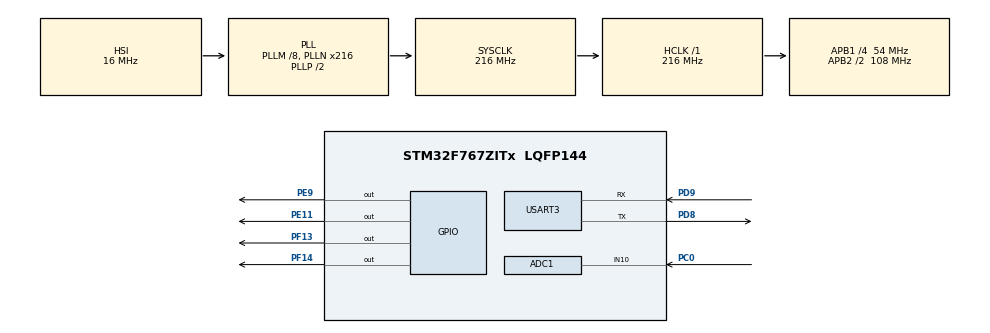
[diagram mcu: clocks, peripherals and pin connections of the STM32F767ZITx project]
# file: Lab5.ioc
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ADC1.Channel-0\#ChannelRegularConversion=ADC_CHANNEL_10
ADC1.ContinuousConvMode=ENABLE
ADC1.EOCSelection=ADC_EOC_SEQ_CONV
ADC1.NbrOfConversionFlag=1
ADC1.Rank-0\#ChannelRegularConversion=1
ADC1.SamplingTime-0\#ChannelRegularConversion=ADC_SAMPLETIME_3CYCLES
ADC1.master=1
Mcu.Family=STM32F7
Mcu.Name=STM32F767ZITx
Mcu.Package=LQFP144
NVIC.PriorityGroup=NVIC_PRIORITYGROUP_4
PC0.Signal=ADCx_IN10
PD8.Mode=Asynchronous
PD8.Signal=USART3_TX
PD9.Mode=Asynchronous
PD9.Signal=USART3_RX
PE11.Signal=GPIO_Output
PE9.Signal=GPIO_Output
PF13.Signal=GPIO_Output
PF14.Signal=GPIO_Output
ProjectManager.HeapSize=0x200
ProjectManager.StackSize=0x400
ProjectManager.TargetToolchain=STM32CubeIDE
RCC.AHBFreq_Value=216000000
RCC.APB1CLKDivider=RCC_HCLK_DIV4
RCC.APB1Freq_Value=54000000
RCC.APB1TimFreq_Value=108000000
RCC.APB2CLKDivider=RCC_HCLK_DIV2
RCC.APB2Freq_Value=108000000
RCC.APB2TimFreq_Value=216000000
RCC.CortexFreq_Value=216000000
RCC.HCLKFreq_Value=216000000
RCC.HSE_VALUE=25000000
RCC.HSI_VALUE=16000000
RCC.LSE_VALUE=32768
RCC.PLLM=8
RCC.PLLN=216
RCC.SYSCLKFreq_VALUE=216000000
RCC.SYSCLKSource=RCC_SYSCLKSOURCE_PLLCLK
RCC.USBFreq_Value=216000000
RCC.VCOOutputFreq_Value=432000000
SH.ADCx_IN10.0=ADC1_IN10,IN10
USART3.VirtualMode-Asynchronous=VM_ASYNC
board=custom

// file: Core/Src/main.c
/* USER CODE BEGIN Header */
/**
  ******************************************************************************
  * @file           : main.c
  * @brief          : Main program body
  ******************************************************************************
  * @attention
  *
  * <h2><center>&copy; Copyright (c) 2021 STMicroelectronics.
  * All rights reserved.</center></h2>
  *
  * This software component is licensed by ST under BSD 3-Clause license,
  * the "License"; You may not use this file except in compliance with the
  * License. You may obtain a copy of the License at:
  *                        opensource.org/licenses/BSD-3-Clause
  *
  ******************************************************************************
  */
/* USER CODE END Header */
#include "main.h"
#include "adc.h"
#include "usart.h"
#include "gpio.h"

/* USER CODE BEGIN Includes */
#include <string.h>
/* USER CODE END Includes */

/* USER CODE BEGIN PV */
//uint32_t hex1 = 501;

char ch[]="a";
volatile uint32_t adc_val = 0;
char vin1[]="a";
float vin;
volatile uint32_t adc_val8 = 0;
volatile uint32_t adc_val16 = 0;

/* USER CODE END PV */

void SystemClock_Config(void);
/* USER CODE BEGIN PFP */
void displayHEX(uint32_t);
int average_8(int x);
int average_16(int x);
/* USER CODE END PFP */

int main(void)
{

  /* MCU Configuration--------------------------------------------------------*/

  /* Reset of all peripherals, Initializes the Flash interface and the Systick. */
  HAL_Init();

  /* Configure the system clock */
  SystemClock_Config();

  /* Initialize all configured peripherals */
  MX_GPIO_Init();
  MX_ADC1_Init();
  MX_USART3_UART_Init();
  /* USER CODE BEGIN 2 */
  HAL_ADC_Start(&hadc1);
  /* USER CODE END 2 */

  /* Infinite loop */
  /* USER CODE BEGIN WHILE */
  while (1)
  {
	  //displayHEX(hex1);

	  while(HAL_ADC_PollForConversion(&hadc1,100)!= HAL_OK){}
	  adc_val = HAL_ADC_GetValue(&hadc1);
	  displayHEX(adc_val);
	  adc_val8 = average_8(adc_val);
	  adc_val16 = average_16(adc_val);
	  HAL_Delay(500);
    /* USER CODE END WHILE */

  }
}

void SystemClock_Config(void)
{
  RCC_OscInitTypeDef RCC_OscInitStruct = {0};
  RCC_ClkInitTypeDef RCC_ClkInitStruct = {0};
  RCC_PeriphCLKInitTypeDef PeriphClkInitStruct = {0};

  /** Configure the main internal regulator output voltage
  */
  __HAL_RCC_PWR_CLK_ENABLE();
  __HAL_PWR_VOLTAGESCALING_CONFIG(PWR_REGULATOR_VOLTAGE_SCALE1);
  /** Initializes the RCC Oscillators according to the specified parameters
  * in the RCC_OscInitTypeDef structure.
  */
  RCC_OscInitStruct.OscillatorType = RCC_OSCILLATORTYPE_HSI;
  RCC_OscInitStruct.HSIState = RCC_HSI_ON;
  RCC_OscInitStruct.HSICalibrationValue = RCC_HSICALIBRATION_DEFAULT;
  RCC_OscInitStruct.PLL.PLLState = RCC_PLL_ON;
  RCC_OscInitStruct.PLL.PLLSource = RCC_PLLSOURCE_HSI;
  RCC_OscInitStruct.PLL.PLLM = 8;
  RCC_OscInitStruct.PLL.PLLN = 216;
  RCC_OscInitStruct.PLL.PLLP = RCC_PLLP_DIV2;
  RCC_OscInitStruct.PLL.PLLQ = 2;
  RCC_OscInitStruct.PLL.PLLR = 2;
  if (HAL_RCC_OscConfig(&RCC_OscInitStruct) != HAL_OK)
  {
    Error_Handler();
  }
  /** Activate the Over-Drive mode
  */
  if (HAL_PWREx_EnableOverDrive() != HAL_OK)
  {
    Error_Handler();
  }
  /** Initializes the CPU, AHB and APB buses clocks
  */
  RCC_ClkInitStruct.ClockType = RCC_CLOCKTYPE_HCLK|RCC_CLOCKTYPE_SYSCLK
                              |RCC_CLOCKTYPE_PCLK1|RCC_CLOCKTYPE_PCLK2;
  RCC_ClkInitStruct.SYSCLKSource = RCC_SYSCLKSOURCE_PLLCLK;
  RCC_ClkInitStruct.AHBCLKDivider = RCC_SYSCLK_DIV1;
  RCC_ClkInitStruct.APB1CLKDivider = RCC_HCLK_DIV4;
  RCC_ClkInitStruct.APB2CLKDivider = RCC_HCLK_DIV2;

  if (HAL_RCC_ClockConfig(&RCC_ClkInitStruct, FLASH_LATENCY_7) != HAL_OK)
  {
    Error_Handler();
  }
  PeriphClkInitStruct.PeriphClockSelection = RCC_PERIPHCLK_USART3;
  PeriphClkInitStruct.Usart3ClockSelection = RCC_USART3CLKSOURCE_PCLK1;
  if (HAL_RCCEx_PeriphCLKConfig(&PeriphClkInitStruct) != HAL_OK)
  {
    Error_Handler();
  }
}

/* USER CODE BEGIN 4 */
void displayHEX(uint32_t x)
{

	sprintf(ch,"%08X",x);
	while(__HAL_UART_GET_FLAG(&huart3,UART_FLAG_TC)==RESET){}
	HAL_UART_Transmit(&huart3, (uint8_t*)"ADC1_CH10 0x",12,1000);
	HAL_UART_Transmit(&huart3, (uint8_t*)ch,strlen(ch),1000);
	HAL_UART_Transmit(&huart3, (uint8_t*)" Vin = ",7,1000);

	vin =(float)x/4096.0*3.3;
	sprintf(vin1,"%.2f",vin);
	HAL_UART_Transmit(&huart3, (uint8_t*)vin1,strlen(vin1),1000);
	HAL_UART_Transmit(&huart3, (uint8_t*)" V\r\n",4,1000);

	HAL_GPIO_WritePin(GPIOF, GPIO_PIN_13, GPIO_PIN_SET);
	HAL_GPIO_WritePin(GPIOE, GPIO_PIN_9, GPIO_PIN_SET);
	HAL_GPIO_WritePin(GPIOE, GPIO_PIN_11, GPIO_PIN_SET);
	HAL_GPIO_WritePin(GPIOF, GPIO_PIN_14, GPIO_PIN_SET);

	if(vin>2.64){
		HAL_GPIO_WritePin(GPIOF, GPIO_PIN_13, GPIO_PIN_RESET);
		HAL_GPIO_WritePin(GPIOE, GPIO_PIN_9, GPIO_PIN_RESET);
		HAL_GPIO_WritePin(GPIOE, GPIO_PIN_11, GPIO_PIN_RESET);
		HAL_GPIO_WritePin(GPIOF, GPIO_PIN_14, GPIO_PIN_RESET);
	}else if(vin>1.98){
		HAL_GPIO_WritePin(GPIOE, GPIO_PIN_9, GPIO_PIN_RESET);
		HAL_GPIO_WritePin(GPIOE, GPIO_PIN_11, GPIO_PIN_RESET);
		HAL_GPIO_WritePin(GPIOF, GPIO_PIN_14, GPIO_PIN_RESET);
	}else if(vin>1.32){
		HAL_GPIO_WritePin(GPIOE, GPIO_PIN_11, GPIO_PIN_RESET);
		HAL_GPIO_WritePin(GPIOF, GPIO_PIN_14, GPIO_PIN_RESET);
	}else if(vin>0.66){
		HAL_GPIO_WritePin(GPIOF, GPIO_PIN_14, GPIO_PIN_RESET);
	}
}
int average_8(int x)
{
	static int samples[8];
	static int i=0;
	static int total =0;

	total+=x-samples[i];
	samples[i] = x;

	i=(i==7? 0:i+1);

	return total>>3;
}
int average_16(int x)
{
	static int samples[16];
	static int i=0;
	static int total =0;

	total+=x-samples[i];
	samples[i] = x;

	i=(i==15? 0:i+1);

	return total>>4;
}

/* USER CODE END 4 */

void Error_Handler(void)
{
  __disable_irq();
  while (1)
  {
  }
}

/************************ (C) COPYRIGHT STMicroelectronics *****END OF FILE****/
